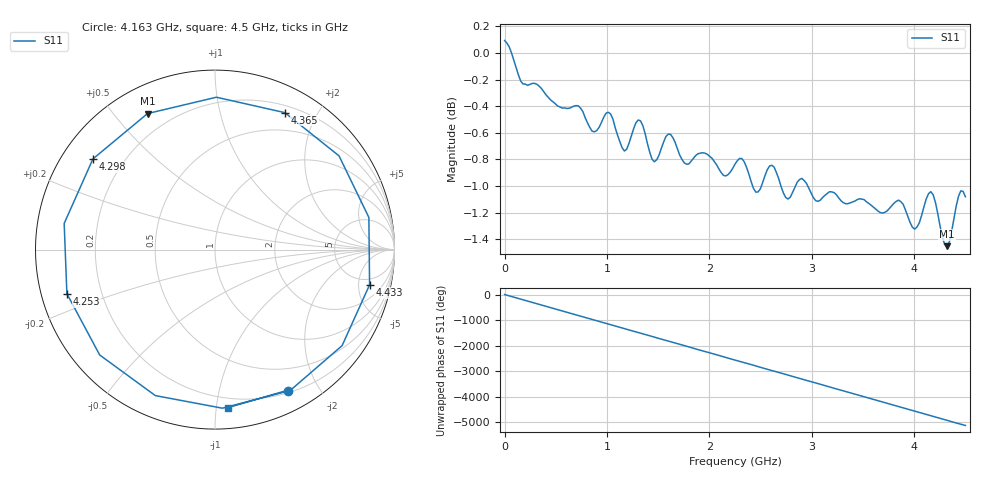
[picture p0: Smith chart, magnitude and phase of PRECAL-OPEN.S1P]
!Agilent Technologies,E5071C,MY46101151,A.11.34
!Date: Mon Sep 17 22:00:28 2018
!Data & Calibration Information:
!Freq	S22:NONE(--)
!PortZ  Port2:50+j0
!Above PortZ is port z conversion or system Z0 setting when saving the data.
!When reading, reference impedance value at option line is always used.
# Hz S dB R 50
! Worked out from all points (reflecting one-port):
!   201 points, 100 kHz to 4.5 GHz, reference 50 ohm
!   lowest |S11| = -1.5 dB at 4.32 GHz (marker M1), VSWR 11.99, Z = 5.76 + j30.7 ohm
!   phase of S11 starts at -0 deg and turns -5125 deg over the sweep
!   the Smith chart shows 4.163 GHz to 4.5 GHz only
!   S11 on the Smith chart (normalised r, x): 4.163 GHz: 0.22, -1.62; 4.253 GHz: 0.08, -0.14; 4.298 GHz: 0.09, +0.33; 4.365 GHz: 0.28, +1.60; 4.433 GHz: 3.80, -6.79; 4.5 GHz: 0.13, -1.08
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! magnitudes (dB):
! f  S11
! 100 kHz  0.1
! 180.1 MHz  -0.2
! 562.6 MHz  -0.4
! 877.6 MHz  -0.6
! 1.013 GHz  -0.4
! 1.125 GHz  -0.7
! 1.193 GHz  -0.7
! 1.305 GHz  -0.5
! 1.463 GHz  -0.8
! 1.598 GHz  -0.6
! 1.688 GHz  -0.7
! 2.25 GHz  -0.8
! 2.318 GHz  -0.8
! 2.453 GHz  -1.0
! 2.61 GHz  -0.8
! 2.813 GHz  -1.0
! 2.903 GHz  -0.9
! 3.038 GHz  -1.1
! 3.375 GHz  -1.1
! 3.938 GHz  -1.2
! 4.028 GHz  -1.3
! 4.163 GHz  -1.0
! 4.253 GHz  -1.3
! 4.298 GHz  -1.4
! 4.32 GHz  -1.5
! 4.365 GHz  -1.3
! 4.433 GHz  -1.1
! 4.5 GHz  -1.1
